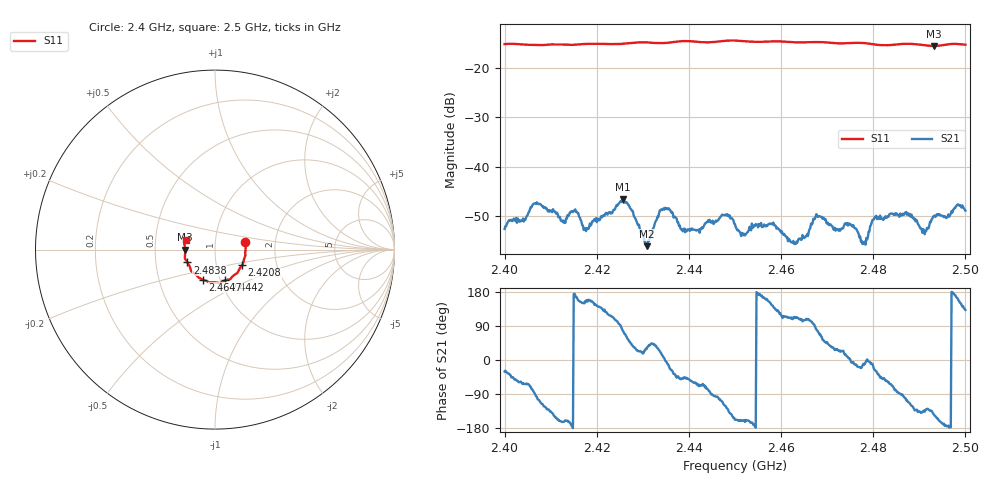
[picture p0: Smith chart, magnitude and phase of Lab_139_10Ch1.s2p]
# Hz S RI R 50
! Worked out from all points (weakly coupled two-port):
!   601 points, 2.4 GHz to 2.5 GHz, reference 50 ohm
!   highest |S21| = -46.57 dB at 2.4257 GHz (marker M1); lowest = -56.0 dB at 2.4308 GHz (marker M2)
!   lowest |S11| = -15.6 dB at 2.4932 GHz (marker M3), VSWR 1.40, Z = 35.8 - j0.0731 ohm
!   |S11| at or under -10 dB: start of sweep to end of sweep
!   S12 and S22 are empty: the file has one direction only
!   S11 on the Smith chart (normalised r, x): 2.4 GHz: 1.40, +0.12; 2.4208 GHz: 1.33, -0.24; 2.4442 GHz: 1.05, -0.37; 2.4647 GHz: 0.83, -0.29; 2.4838 GHz: 0.73, -0.11; 2.5 GHz: 0.72, +0.08
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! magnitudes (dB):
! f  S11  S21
! 2.4 GHz  -15.3  -52.5
! 2.4067 GHz  -15.4  -47.4
! 2.4167 GHz  -15.2  -51.0
! 2.4208 GHz  -15.2  -50.2
! 2.4257 GHz  -15.2  -46.6
! 2.4308 GHz  -14.9  -56.0
! 2.4333 GHz  -15.0  -50.2
! 2.4355 GHz  -15.0  -48.4
! 2.4392 GHz  -14.6  -53.2
! 2.4442 GHz  -14.9  -50.8
! 2.45 GHz  -14.5  -51.6
! 2.4647 GHz  -14.9  -53.8
! 2.4667 GHz  -14.8  -51.7
! 2.4752 GHz  -15.0  -51.6
! 2.4778 GHz  -15.0  -55.3
! 2.4802 GHz  -15.3  -50.6
! 2.4833 GHz  -15.5  -50.0
! 2.4838 GHz  -15.4  -49.4
! 2.4875 GHz  -15.2  -49.4
! 2.491 GHz  -15.4  -52.9
! 2.4932 GHz  -15.6  -49.9
! 2.5 GHz  -15.4  -48.8
